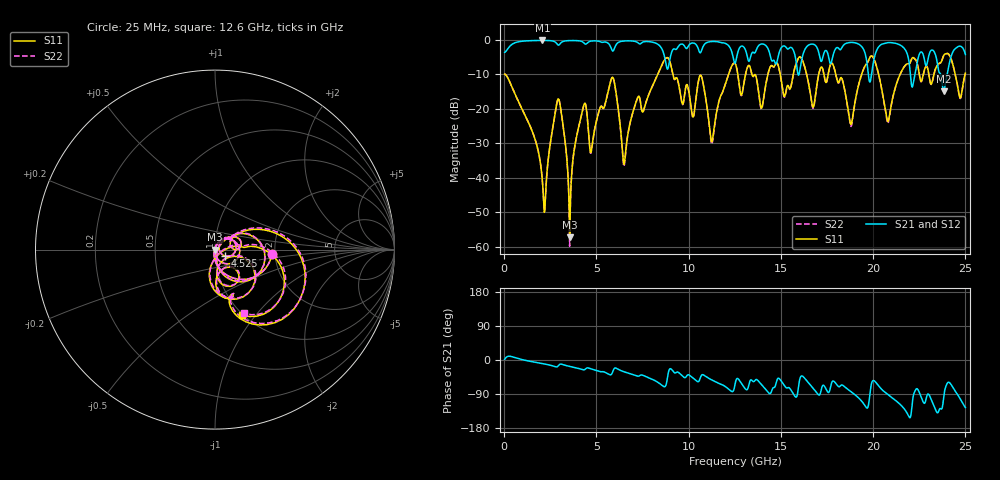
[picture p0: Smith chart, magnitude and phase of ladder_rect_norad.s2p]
! R_s4_rect_n0: kisi's ladder with the plane pair as a finite cavity (rect) (Finite board 24 × 16 mm, via L1 → L4 through the L2/L3 cavity, no return via)
# Hz S RI R 50
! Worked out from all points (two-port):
!   1000 points, 25 MHz to 25 GHz, reference 50 ohm
!   highest |S21| = -0.21 dB at 2.075 GHz (marker M1); lowest = -14.9 dB at 23.82 GHz (marker M2)
!   |S21| within 3 dB of the highest: 118.7 MHz to 5.869 GHz (5.75 GHz wide, 192 % of centre); 5.913 GHz to 8.597 GHz (2.684 GHz wide, 37 % of centre) (the widest 2 of 13)
!   lowest |S11| = -57.3 dB at 3.55 GHz (marker M3), VSWR 1.00, Z = 50.1 - j0.0492 ohm
!   |S11| at or under -10 dB: 43.47 MHz to 8.331 GHz (8.287 GHz wide, 198 % of centre); 9.142 GHz to 12.16 GHz (3.02 GHz wide, 28.4 % of centre); 17.97 GHz to 19.38 GHz (1.406 GHz wide, 7.53 % of centre) (the widest 3 of 12)
!   |S22| runs from -59.9 to -4.0 dB; largest |S21 - S12| = 0
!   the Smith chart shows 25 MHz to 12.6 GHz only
!   S11 on the Smith chart (normalised r, x): 25 MHz: 1.93, -0.10; 4.525 GHz: 1.11, -0.08; 12.6 GHz: 0.99, -0.85
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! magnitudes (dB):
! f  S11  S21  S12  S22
! 25 MHz  -10.0  -3.7  -3.7  -10.0
! 2.075 GHz  -41.1  -0.2  -0.2  -41.1
! 2.95 GHz  -17.2  -1.6  -1.6  -17.2
! 3.55 GHz  -57.3  -0.2  -0.2  -59.9
! 4.2 GHz  -21.6  -0.5  -0.5  -21.6
! 4.525 GHz  -23.6  -0.8  -0.8  -23.6
! 5.875 GHz  -10.9  -3.3  -3.3  -10.9
! 6.525 GHz  -35.6  -0.4  -0.4  -36.0
! 8.35 GHz  -9.8  -1.4  -1.4  -9.8
! 10.68 GHz  -10.4  -3.5  -3.5  -10.5
! 11.25 GHz  -29.6  -0.5  -0.5  -30.3
! 12.53 GHz  -6.9  -6.7  -6.7  -7.0
! 12.6 GHz  -8.1  -5.2  -5.2  -8.1
! 13.95 GHz  -19.9  -1.2  -1.2  -20.1
! 16.05 GHz  -5.0  -8.2  -8.2  -5.0
! 16.68 GHz  -18.3  -1.2  -1.2  -18.5
! 17.77 GHz  -6.8  -5.7  -5.7  -6.9
! 18.8 GHz  -24.6  -0.8  -0.8  -25.2
! 19.93 GHz  -4.7  -9.6  -9.6  -4.7
! 20.85 GHz  -23.0  -0.8  -0.8  -23.5
! 23.82 GHz  -4.6  -14.9  -14.9  -4.6
! 25 GHz  -9.7  -4.3  -4.3  -9.7
